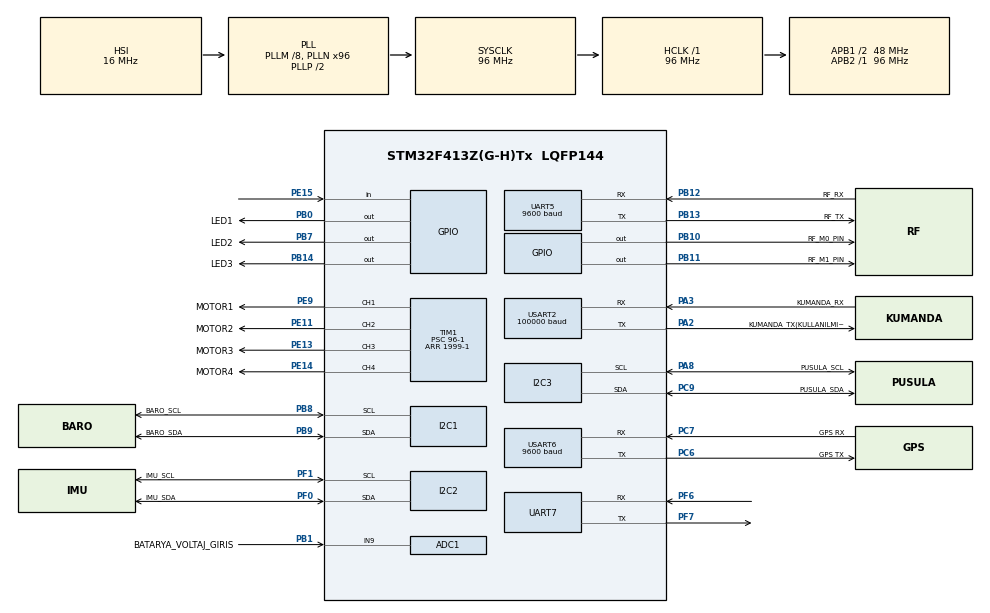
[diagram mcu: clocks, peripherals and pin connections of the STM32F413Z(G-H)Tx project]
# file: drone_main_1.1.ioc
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ADC1.Channel-0\#ChannelRegularConversion=ADC_CHANNEL_9
ADC1.ContinuousConvMode=ENABLE
ADC1.DMAContinuousRequests=ENABLE
ADC1.NbrOfConversion=1
ADC1.NbrOfConversionFlag=1
ADC1.Rank-0\#ChannelRegularConversion=1
ADC1.SamplingTime-0\#ChannelRegularConversion=ADC_SAMPLETIME_480CYCLES
ADC1.master=1
Dma.ADC1.1.Direction=DMA_PERIPH_TO_MEMORY
Dma.ADC1.1.FIFOMode=DMA_FIFOMODE_DISABLE
Dma.ADC1.1.Instance=DMA2_Stream0
Dma.ADC1.1.MemDataAlignment=DMA_MDATAALIGN_HALFWORD
Dma.ADC1.1.MemInc=DMA_MINC_ENABLE
Dma.ADC1.1.Mode=DMA_CIRCULAR
Dma.ADC1.1.PeriphDataAlignment=DMA_PDATAALIGN_HALFWORD
Dma.ADC1.1.PeriphInc=DMA_PINC_DISABLE
Dma.ADC1.1.Priority=DMA_PRIORITY_LOW
Dma.Request0=USART2_RX
Dma.Request1=ADC1
Dma.Request2=UART5_RX
Dma.Request3=UART5_TX
Dma.Request4=USART6_RX
Dma.Request5=UART7_TX
Dma.UART5_RX.2.Direction=DMA_PERIPH_TO_MEMORY
Dma.UART5_RX.2.FIFOMode=DMA_FIFOMODE_DISABLE
Dma.UART5_RX.2.Instance=DMA1_Stream0
Dma.UART5_RX.2.MemDataAlignment=DMA_MDATAALIGN_BYTE
Dma.UART5_RX.2.MemInc=DMA_MINC_ENABLE
Dma.UART5_RX.2.Mode=DMA_CIRCULAR
Dma.UART5_RX.2.PeriphDataAlignment=DMA_PDATAALIGN_BYTE
Dma.UART5_RX.2.PeriphInc=DMA_PINC_DISABLE
Dma.UART5_RX.2.Priority=DMA_PRIORITY_HIGH
Dma.UART5_TX.3.Direction=DMA_MEMORY_TO_PERIPH
Dma.UART5_TX.3.FIFOMode=DMA_FIFOMODE_DISABLE
Dma.UART5_TX.3.Instance=DMA1_Stream7
Dma.UART5_TX.3.MemDataAlignment=DMA_MDATAALIGN_BYTE
Dma.UART5_TX.3.MemInc=DMA_MINC_ENABLE
Dma.UART5_TX.3.Mode=DMA_NORMAL
Dma.UART5_TX.3.PeriphDataAlignment=DMA_PDATAALIGN_BYTE
Dma.UART5_TX.3.PeriphInc=DMA_PINC_DISABLE
Dma.UART5_TX.3.Priority=DMA_PRIORITY_MEDIUM
Dma.UART7_TX.5.Direction=DMA_MEMORY_TO_PERIPH
Dma.UART7_TX.5.FIFOMode=DMA_FIFOMODE_DISABLE
Dma.UART7_TX.5.Instance=DMA1_Stream1
Dma.UART7_TX.5.MemDataAlignment=DMA_MDATAALIGN_BYTE
Dma.UART7_TX.5.MemInc=DMA_MINC_ENABLE
Dma.UART7_TX.5.Mode=DMA_CIRCULAR
Dma.UART7_TX.5.PeriphDataAlignment=DMA_PDATAALIGN_BYTE
Dma.UART7_TX.5.PeriphInc=DMA_PINC_DISABLE
Dma.UART7_TX.5.Priority=DMA_PRIORITY_LOW
Dma.USART2_RX.0.Direction=DMA_PERIPH_TO_MEMORY
Dma.USART2_RX.0.FIFOMode=DMA_FIFOMODE_DISABLE
Dma.USART2_RX.0.Instance=DMA1_Stream5
Dma.USART2_RX.0.MemDataAlignment=DMA_MDATAALIGN_BYTE
Dma.USART2_RX.0.MemInc=DMA_MINC_ENABLE
Dma.USART2_RX.0.Mode=DMA_CIRCULAR
Dma.USART2_RX.0.PeriphDataAlignment=DMA_PDATAALIGN_BYTE
Dma.USART2_RX.0.PeriphInc=DMA_PINC_DISABLE
Dma.USART2_RX.0.Priority=DMA_PRIORITY_VERY_HIGH
Dma.USART6_RX.4.Direction=DMA_PERIPH_TO_MEMORY
Dma.USART6_RX.4.FIFOMode=DMA_FIFOMODE_DISABLE
Dma.USART6_RX.4.Instance=DMA2_Stream2
Dma.USART6_RX.4.MemDataAlignment=DMA_MDATAALIGN_BYTE
Dma.USART6_RX.4.MemInc=DMA_MINC_ENABLE
Dma.USART6_RX.4.Mode=DMA_CIRCULAR
Dma.USART6_RX.4.PeriphDataAlignment=DMA_PDATAALIGN_BYTE
Dma.USART6_RX.4.PeriphInc=DMA_PINC_DISABLE
Dma.USART6_RX.4.Priority=DMA_PRIORITY_LOW
I2C1.I2C_Mode=I2C_Fast
I2C2.I2C_Mode=I2C_Fast
I2C3.I2C_Mode=I2C_Fast
IWDG.Reload=36
Mcu.Family=STM32F4
Mcu.Name=STM32F413Z(G-H)Tx
Mcu.Package=LQFP144
NVIC.DMA1_Stream0_IRQn=true\:0\:0\:false\:false\:true\:false\:true\:true
NVIC.DMA1_Stream1_IRQn=true\:0\:0\:false\:false\:true\:false\:true\:true
NVIC.DMA1_Stream5_IRQn=true\:0\:0\:false\:false\:true\:false\:true\:true
NVIC.DMA1_Stream7_IRQn=true\:0\:0\:false\:false\:true\:false\:true\:true
NVIC.DMA2_Stream0_IRQn=true\:0\:0\:false\:false\:true\:false\:true\:true
NVIC.DMA2_Stream2_IRQn=true\:0\:0\:false\:false\:true\:false\:true\:true
NVIC.PriorityGroup=NVIC_PRIORITYGROUP_4
NVIC.UART5_IRQn=true\:0\:0\:false\:false\:true\:true\:true\:true
PA2.GPIO_Label=KUMANDA_TX(KULLANILMIYOR)
PA2.Mode=Asynchronous
PA2.Signal=USART2_TX
PA3.GPIO_Label=KUMANDA_RX
PA3.Mode=Asynchronous
PA3.Signal=USART2_RX
PA8.GPIO_Label=PUSULA_SCL
PA8.Mode=I2C
PA8.Signal=I2C3_SCL
PB0.GPIO_Label=LED1
PB0.Signal=GPIO_Output
PB1.GPIO_Label=BATARYA_VOLTAJ_GIRIS
PB1.Signal=ADCx_IN9
PB10.GPIO_Label=RF_M0_PIN
PB10.Signal=GPIO_Output
PB11.GPIO_Label=RF_M1_PIN
PB11.Signal=GPIO_Output
PB12.GPIO_Label=RF_RX
PB12.Mode=Asynchronous
PB12.Signal=UART5_RX
PB13.GPIO_Label=RF_TX
PB13.Mode=Asynchronous
PB13.Signal=UART5_TX
PB14.GPIO_Label=LED3
PB14.Signal=GPIO_Output
PB7.GPIO_Label=LED2
PB7.Signal=GPIO_Output
PB8.GPIO_Label=BARO_SCL
PB8.Mode=I2C
PB8.Signal=I2C1_SCL
PB9.GPIO_Label=BARO_SDA
PB9.Mode=I2C
PB9.Signal=I2C1_SDA
PC6.GPIO_Label=GPS TX
PC6.Mode=Asynchronous
PC6.Signal=USART6_TX
PC7.GPIO_Label=GPS RX
PC7.Mode=Asynchronous
PC7.Signal=USART6_RX
PC9.GPIO_Label=PUSULA_SDA
PC9.Mode=I2C
PC9.Signal=I2C3_SDA
PE11.GPIO_Label=MOTOR2
PE11.Signal=S_TIM1_CH2
PE13.GPIO_Label=MOTOR3
PE13.Signal=S_TIM1_CH3
PE14.GPIO_Label=MOTOR4
PE14.Signal=S_TIM1_CH4
PE15.Signal=GPIO_Input
PE9.GPIO_Label=MOTOR1
PE9.Signal=S_TIM1_CH1
PF0.GPIO_Label=IMU_SDA
PF0.Mode=I2C
PF0.Signal=I2C2_SDA
PF1.GPIO_Label=IMU_SCL
PF1.Mode=I2C
PF1.Signal=I2C2_SCL
PF6.Mode=Asynchronous
PF6.Signal=UART7_RX
PF7.Mode=Asynchronous
PF7.Signal=UART7_TX
ProjectManager.HeapSize=0x200
ProjectManager.StackSize=0x400
ProjectManager.TargetToolchain=STM32CubeIDE
RCC.AHBFreq_Value=96000000
RCC.APB1CLKDivider=RCC_HCLK_DIV2
RCC.APB1Freq_Value=48000000
RCC.APB1TimFreq_Value=96000000
RCC.APB2Freq_Value=96000000
RCC.APB2TimFreq_Value=96000000
RCC.CortexFreq_Value=96000000
RCC.HCLKFreq_Value=96000000
RCC.PLLM=8
RCC.PLLN=96
RCC.PLLQ=4
RCC.SYSCLKFreq_VALUE=96000000
RCC.SYSCLKSource=RCC_SYSCLKSOURCE_PLLCLK
RCC.USBFreq_Value=48000000
RCC.VCOOutputFreq_Value=192000000
SH.ADCx_IN9.0=ADC1_IN9,IN9
SH.S_TIM1_CH1.0=TIM1_CH1,PWM Generation1 CH1
SH.S_TIM1_CH2.0=TIM1_CH2,PWM Generation2 CH2
SH.S_TIM1_CH3.0=TIM1_CH3,PWM Generation3 CH3
SH.S_TIM1_CH4.0=TIM1_CH4,PWM Generation4 CH4
TIM1.Channel-PWM\ Generation1\ CH1=TIM_CHANNEL_1
TIM1.Channel-PWM\ Generation2\ CH2=TIM_CHANNEL_2
TIM1.Channel-PWM\ Generation3\ CH3=TIM_CHANNEL_3
TIM1.Channel-PWM\ Generation4\ CH4=TIM_CHANNEL_4
TIM1.Period=1999-1
TIM1.Prescaler=96-1
TIM2.Prescaler=96-1
TIM3.Prescaler=96-1
UART5.BaudRate=9600
UART5.OverSampling=UART_OVERSAMPLING_16
UART5.VirtualMode=Asynchronous
UART7.VirtualMode=Asynchronous
USART2.BaudRate=100000
USART2.Parity=PARITY_EVEN
USART2.StopBits=STOPBITS_2
USART2.VirtualMode=VM_ASYNC
USART6.BaudRate=9600
USART6.VirtualMode=VM_ASYNC
USART6.WordLength=WORDLENGTH_8B
VP_IWDG_VS_IWDG.Mode=IWDG_Activate
VP_TIM2_VS_ClockSourceINT.Mode=Internal
VP_TIM3_VS_ClockSourceINT.Mode=Internal
board=custom

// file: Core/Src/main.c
/* USER CODE BEGIN Header */
/**
  ******************************************************************************
  * @file           : main.c
  * @brief          : Main program body
  ******************************************************************************
  * @attention
  *
  * Copyright (c) 2023 STMicroelectronics.
  * All rights reserved.
  *
  * This software is licensed under terms that can be found in the LICENSE file
  * in the root directory of this software component.
  * If no LICENSE file comes with this software, it is provided AS-IS.
  *
  ******************************************************************************
  */
/* USER CODE END Header */
#include "main.h"

/* USER CODE BEGIN Includes */
#include <math.h>
#include <string.h>
#include "compass.h"
#include "mpu6050.h"
#include "pid.h"
#include "receiver.h"
#include "pwm_esc.h"
#include "e220.h"
#include "adc_Battery.h"
#include "log_to_flash.h"
#include "failsafe.h"
#include "gy63-i2c.h"
#include "gps.h"

/* USER CODE END Includes */

/* USER CODE BEGIN PD */
#define MPU6050_CONNECTION_LOST 0b000000000000001
#define MIN_Duty_cycle 0
#define motorstopValue 1000
#define PACKET_SIZE 34
#define Sector5_Address 0x08020000   // - 0x0803 FFFF 128 Kbyte
#define Sector6_Address 0x08040000   // - 0x0805 FFFF 128 Kbyte
#define Sector7_Address 0x08060000   // - 0x0807 FFFF 128 Kbyte
#define Sector8_Address 0x08080000   // - 0x0809 FFFF 128 Kbyte
#define Sector9_Address 0x080A0000   // - 0x080B FFFF 128 Kbyte
#define Sector10_Address 0x080C0000  // - 0x080D FFFF 128 Kbyte
#define Sector11_Address 0x080E0000  // - 0x080F FFFF 128 Kbyte
#define Sector12_Address 0x080100000 // - 0x0811 FFFF 128 Kbyte
#define Sector13_Address 0x08120000  // - 0x0813 FFFF 128 Kbyte
#define Sector14_Address 0x08140000  // - 0x0815 FFFF 128 Kbyte
#define Sector15_Address 0x08160000  // - 0x0817 FFFF 128 Kbyte

/* USER CODE END PD */

ADC_HandleTypeDef hadc1;
DMA_HandleTypeDef hdma_adc1;

I2C_HandleTypeDef hi2c1;
I2C_HandleTypeDef hi2c2;
I2C_HandleTypeDef hi2c3;

IWDG_HandleTypeDef hiwdg;

TIM_HandleTypeDef htim1;
TIM_HandleTypeDef htim2;
TIM_HandleTypeDef htim3;

UART_HandleTypeDef huart5;
UART_HandleTypeDef huart7;
UART_HandleTypeDef huart2;
UART_HandleTypeDef huart6;
DMA_HandleTypeDef hdma_uart5_rx;
DMA_HandleTypeDef hdma_uart5_tx;
DMA_HandleTypeDef hdma_uart7_tx;
DMA_HandleTypeDef hdma_usart2_rx;
DMA_HandleTypeDef hdma_usart6_rx;

/* USER CODE BEGIN PV */

//////////////////////////////////////////////////////////////
/////////////////////PID RELATED VARIABLES////////////////////
//////////////////////////////////////////////////////////////
float roll_level_adjust, pitch_level_adjust;
extern double Roll_Control,Pitch_Control,Yaw_Control;
int Calculated_Throttle1,Calculated_Throttle2,Calculated_Throttle3,Calculated_Throttle4;
int motorStop=1000;
//////////////////////////////////////////////////////////////
/////////////////////TIMER RELATED VARIABLES//////////////////
//////////////////////////////////////////////////////////////
uint32_t time1,time2,timex;
int t=0;
uint32_t loop_counter=0;
//////////////////////////////////////////////////////////////
///////////////////MPU6050 RELATED VARIABLES//////////////////
//////////////////////////////////////////////////////////////
MPU6050_t MPU6050_1;
double angle_pitch_output, angle_roll_output , angle_yaw_rate_output;
extern float gyro_roll_input,gyro_pitch_input,gyro_yaw_input;
extern float accel_input[4];
extern float accel_output[4];

//////////////////////////////////////////////////////////////
//////////////////RF MODULE RELATED VARIABLES/////////////////
//////////////////////////////////////////////////////////////
extern struct receiverdata My_Receiver;
uint16_t DRONE_STATUS;
uint8_t send_buffer[32]="Hi There!";
uint8_t receive_buffer[32]={0};
int16_t result;
uint8_t all_reg_rx[8], all_reg_tx[8];
struct LoRa_Handler LoraTX={0};
uint8_t rf_listen=0;

//////////////////////////////////////////////////////////////
/////////////////////RECEIVER RELATED VARIABLES///////////////
//////////////////////////////////////////////////////////////
char buffer[25];
int _channels[12];

//////////////////////////////////////////////////////////////
/////////////////////BATTERY RELATED VARIABLES////////////////
//////////////////////////////////////////////////////////////
uint32_t battery_raw_data;
float battery_voltage_float=1;

//////////////////////////////////////////////////////////////
////////////////CALIBRATION RELATED VARIABLES/////////////////
//////////////////////////////////////////////////////////////
float calibration_buffer_float[5];
float imu_calibration_values[6];

//////////////////////////////////////////////////////////////
////////////////FLIGHT LOG RELATED VARIABLES//////////////////
//////////////////////////////////////////////////////////////
uint8_t log_buffer[34];
uint16_t status=0;
uint64_t address_counter=0;
float altitude=725.55;
float real_height=0;

//////////////////////////////////////////////////////////////
//////////////////BAROMETER RELATED VARIABLES/////////////////
//////////////////////////////////////////////////////////////
int loop_counter_pressure_requested=0;
extern struct GY63_t GY63;
float baro_coeff=50;
uint8_t alt_hold_flag;
float alt_setpoint;
extern float Alt_Control;

//////////////////////////////////////////////////////////////
////////////BAROMETER IIR FILTER RELATED VARIABLES////////////
//////////////////////////////////////////////////////////////
float baro_filter_input[4];float baro_filter_output[4];
float baro_filter_output_coeff[3]={2.6235,-2.3146
		,0.6855};
float baro_filter_input_coeff[4]={6.996662426856934e-04,0.002098998728057,
		0.002098998728057,6.996662426856934e-04};

//////////////////////////////////////////////////////////////
///////////////COMPASS & GPS RELATED VARIABLES////////////////
//////////////////////////////////////////////////////////////
uint8_t gps_buffer[100];
int16_t MagX,MagY,MagZ;
uint8_t data_compass[13];
uint8_t MAGZ[6];
float heading;
HAL_StatusTypeDef result_compass;
int16_t compass_offset_y;
float compass_scale_y;
int16_t compass_offset_z;
float compass_scale_z;
int16_t compass_offset_x;
int16_t compass_cal_values[6];
float Xsf,Ysf,Xoff,Yoff,Zsf,Zoff;
extern float heading_corrected;
int gps_connected=0;

//////////////////////////////////////////////////////////////
/////////////////GPS HOLD RELATED VARIABLES///////////////////
//////////////////////////////////////////////////////////////
int gps_hold_flag=0;
uint32_t gps_setpoint_lat,gps_setpoint_lon;
float GpsRollControl,GpsPitchControl;
float GpsRollControl_temp,GpsPitchControl_temp;
double gps_go_result[2];
uint8_t gps_go_flag=0;
uint8_t heading_lock=0;
float heading_error=0;
uint8_t gps_fix=0;

/* USER CODE END PV */

void SystemClock_Config(void);
static void MX_GPIO_Init(void);
static void MX_DMA_Init(void);
static void MX_IWDG_Init(void);
static void MX_I2C2_Init(void);
static void MX_USART2_UART_Init(void);
static void MX_TIM1_Init(void);
static void MX_TIM2_Init(void);
static void MX_TIM3_Init(void);
static void MX_ADC1_Init(void);
static void MX_I2C1_Init(void);
static void MX_UART5_Init(void);
static void MX_USART6_UART_Init(void);
static void MX_I2C3_Init(void);
static void MX_UART7_Init(void);
/* USER CODE BEGIN PFP */
void HAL_UART_TxCpltCallback(UART_HandleTypeDef *huart);
void fill_buffer();

/* USER CODE END PFP */

int main(void)
{
  /* USER CODE BEGIN 1 */
   __HAL_DBGMCU_FREEZE_IWDG(); ///TURN THE WATCHDOG TIMER OFF IN DEBUG MODE, OTHERWISE MCU WILL KEEP RESETTING ITSELF

  /* USER CODE END 1 */

  /* MCU Configuration--------------------------------------------------------*/

  /* Reset of all peripherals, Initializes the Flash interface and the Systick. */
  HAL_Init();

  /* Configure the system clock */
  SystemClock_Config();

  /* Initialize all configured peripherals */
  MX_GPIO_Init();
  MX_DMA_Init();
  //MX_IWDG_Init();  // CALL THIS FUNCTION BEFORE MAIN LOOP BEGINS
  MX_I2C2_Init();
  MX_USART2_UART_Init();
  MX_TIM1_Init();
  MX_TIM2_Init();
  MX_TIM3_Init();
  MX_ADC1_Init();
  MX_I2C1_Init();
  MX_UART5_Init();
  MX_USART6_UART_Init();
  MX_I2C3_Init();
  MX_UART7_Init();
  /* USER CODE BEGIN 2 */

  //////TRANSMITTER AND IMU INIT/////
  red_led_on();    // assume no transmitter is connected initially
  while(MPU6050_Init_Benim(&hi2c2)==1);       // connect to imu
  start_reading_battery();                    // start the adc for battery voltage

  while(connect_receiver());                  // connect to transmitter
  red_led_off();  // turn the red led off after connection to transsmitter
  while(startup_handler());   //choose a startup mode: imu calibration ,compass calibration, flight;

 //////RF MODUL INITIALIZATION/////
 E220_init_declare_pins(&LoraTX, GPIOB, GPIOE, GPIO_PIN_10, GPIO_PIN_11, GPIO_PIN_15,&huart5); //declare E220 pins.
 E220_enter_normal_mode(&LoraTX); //switch the E220 to transceiver

  /* USER CODE END 2 */

  /* Infinite loop */
  /* USER CODE BEGIN WHILE */

  /////INIT MOTORS/////
  while(arm_handler());           //motors will be activated after this function,
  stop_motors();                    //this function shuts the motors ,

  /////INIT BAROMETER/////
  MS5611_Initilize(); // Never start without this function call
  MS5611_Request_Temp();  //for the timing algorithm to work properly

  /////INIT LOG RECORD/////
  //flash_init_for_log();    //this function erases the sectors from 5 to 13 to flight data logging, warning: This function takes around 4-5 seconds to execute.

  while(gps_init());   //gps initialization
  HAL_TIM_Base_Start(&htim3);              //initiate the loop timer counter
  HAL_Delay(1000);                       // wait 1s to see if the data from gps will corrupt
  while(is_gps_connected()); //wait until gps data frame fits into 100 byte buffer
  green_led_on(); /// turn the green led on, ready for flight
  E220_receive_payload_DMA(&LoraTX,receive_buffer,32);  // start DMA for RF module receive

  MX_IWDG_Init();                            //start the watchdog timer
  while (1)
  {

    /* USER CODE END WHILE */

    /* USER CODE BEGIN 3 */
	  htim3.Instance->CNT=0;         // reset timer
	  time1=htim3.Instance->CNT;     // keep the initial value

	  MPU6050_Read_All_Benim(&hi2c2, &MPU6050_1);    //read the imu data

	  if(decode_receiver()==1) // if the connection with transmitter this function will return 1
	  {
		  red_led_on();  //turn the red led on
		  failsafe_handler();                       //shut motors and wait (mcu will reset itself)
		  //rf_listen=1;       //trivial
		  //_channels[0]=1000;  //trivial
		  //_channels[1]=1000;  //trivial
		  //_channels[3]=1000;  //trivial
		  //if(rf_listen) decode_rf(); //trivial
	  }
	  else {
		  //rf_listen=0;  //trivial
		  red_led_off();

	  }

	  //CALCULATE THE PID CONTROL SIGNALS
	  //adjust parameters are the feedback control signals of the cascaded pid loop
	  pitch_level_adjust = angle_pitch_output * 31;
	  roll_level_adjust = angle_roll_output * 31;
	  calculate_motor_powers();

	  //CALCULATE THE SIGNALS FOR THE MOTORS (PITCH ,ROLL AND YAW)
	  Calculated_Throttle1=(_channels[2] + (int)Roll_Control + (int)Pitch_Control  + (int)Yaw_Control);
	  if(Calculated_Throttle1<1100) Calculated_Throttle1=1100;
	  if(Calculated_Throttle1>1800) Calculated_Throttle1=1800;

	  Calculated_Throttle2=(_channels[2] - (int)Roll_Control + (int)Pitch_Control - (int)Yaw_Control);
	  if(Calculated_Throttle2<1100) Calculated_Throttle2=1100;
	  if(Calculated_Throttle2>1800) Calculated_Throttle2=1800;

	  Calculated_Throttle3=(_channels[2] + (int)Roll_Control - (int)Pitch_Control - (int)Yaw_Control);
	  if(Calculated_Throttle3<1100) Calculated_Throttle3=1100;
	  if(Calculated_Throttle3>1800) Calculated_Throttle3=1800;

	  Calculated_Throttle4=(_channels[2] - (int)Roll_Control - (int)Pitch_Control + (int)Yaw_Control);
	  if(Calculated_Throttle4<1100) Calculated_Throttle4=1100;
	  if(Calculated_Throttle4>1800) Calculated_Throttle4=1800;

	  if(_channels[4]==1000){   //ALT HOLD ENABLED
		  //if(loop_counter%3==0)
		  altitude_hold();
		  status=2;
		  /*
		  calc_gps((double) latitude/1e7,(double) longitude/1e7, 39.938801, 32.818207, gps_go_result);
		  heading_error=gps_go_result[1]-heading_corrected;
		  if(gps_go_result[0]>1){
			  gps_go_flag=1;
		  }
		  else{
			  gps_hold();
			  gps_go_flag=0;
		  }
		  */
	  }
	  else if(_channels[4]==0 && gps_fix==1){ //GPS HOLD ENABLED
		  gps_go_flag=0;
		  gps_hold();
		  altitude_hold();
		  status=3;
	  }

	  else if(_channels[4]==2000 || (_channels[4]==0 && gps_fix==0 && _channels[4]!=1000) ){ //ATTIDE MODE  ENABLED
		  gps_go_flag=0;
		  reset_alt_pid();
		  alt_hold_flag=0;
		  alt_setpoint=0;
		  reset_gps_pid();
		  gps_hold_flag=0;
		  gps_setpoint_lat=0;
		  gps_setpoint_lon=0;
		  status=1;
	  }

	  //APPLY THE PID CONTROL SIGNALS TO THE MOTORS
	  if(_channels[9]==2000){  // if reset pid & shut motors switch is enabled
		  reset_pid();
		  changespeedM1(&motorStop,MIN_Duty_cycle);
		  changespeedM2(&motorStop,MIN_Duty_cycle);
		  changespeedM3(&motorStop,MIN_Duty_cycle);
		  changespeedM4(&motorStop,MIN_Duty_cycle);
		  HAL_IWDG_Refresh(&hiwdg);
	  }
	  else{
		  if(battery_voltage_float>10 && battery_voltage_float<12.70){ // battery voltage compensation
			  Calculated_Throttle1+=(12-battery_voltage_float)*40;
			  Calculated_Throttle2+=(12-battery_voltage_float)*40;
			  Calculated_Throttle3+=(12-battery_voltage_float)*40;
			  Calculated_Throttle4+=(12-battery_voltage_float)*40;
			  if(Calculated_Throttle1<1100) Calculated_Throttle1=1100;
			  if(Calculated_Throttle1>1800) Calculated_Throttle1=1800;
			  if(Calculated_Throttle2<1100) Calculated_Throttle2=1100;
			  if(Calculated_Throttle2>1800) Calculated_Throttle2=1800;
			  if(Calculated_Throttle3<1100) Calculated_Throttle3=1100;
			  if(Calculated_Throttle3>1800) Calculated_Throttle3=1800;
			  if(Calculated_Throttle4<1100) Calculated_Throttle4=1100;
			  if(Calculated_Throttle4>1800) Calculated_Throttle4=1800;
			  changespeedM1(&Calculated_Throttle1,MIN_Duty_cycle);
			  changespeedM2(&Calculated_Throttle2,MIN_Duty_cycle);
			  changespeedM3(&Calculated_Throttle3,MIN_Duty_cycle);
			  changespeedM4(&Calculated_Throttle4,MIN_Duty_cycle);
		  }
		  else{ // if the battery is belov 10 volts, shut the motors for the sake of li-po battery
			  changespeedM1(&Calculated_Throttle1,MIN_Duty_cycle);
			  changespeedM2(&Calculated_Throttle2,MIN_Duty_cycle);
			  changespeedM3(&Calculated_Throttle3,MIN_Duty_cycle);
			  changespeedM4(&Calculated_Throttle4,MIN_Duty_cycle);
			  status=99;
		  }

	  }
	  //CONVERT THE ADC READING INTO VOLTAGE  1.012145748987854 is calibration value
	  battery_voltage_float=(float)battery_raw_data /4095*5.7*3.3*(double)1.012145748987854;

	  //if 100 ms passed, send information to the ground station, rf_listen is trivial
	  if(!rf_listen && loop_counter%25==0)
	  {
		  E220_transmit_payload_DMA(&LoraTX,log_buffer,32);
	  }
	  // fit the information into 32 byte buffer
	  fill_buffer();
	  //
/*
	  if(loop_counter%25==0){  /// log the flight data into flash
		  log_write(log_buffer, &address_counter);
	  }
*/

	  baro_read();  //read the barometer (timing will be handled inside this function)
	  if(loop_counter%50==5 && loop_counter!=0){
		  if(gps_decode(gps_buffer,&latitude,&longitude)==0){ // extract the latitude and longitude information from ubx message
			  gps_fix=1;
		  }
		  else gps_fix=0;
	  }

	  compass_read_corrected(); //Read compass data

	  if(_channels[3]<100 && _channels[2]<1100 && _channels[0]>1800 && _channels[1]>1800){
		  while(1); // left joystick (throttle and yaw) down-right and right joystick (pitch and roll) down-right
		 //this causes mcu to reset
	  }

	  loop_counter++;
	  if(loop_counter==1200){
		  loop_counter=0;
	  }
	  timex=htim3.Instance->CNT-time1;       //how much time did it take the code to come here
	  while((htim3.Instance->CNT-time1)<=4000){  //wait until 4ms passes
	  }
	  time2=(htim3.Instance->CNT-time1);   //how much time did the main loop take
	  HAL_IWDG_Refresh(&hiwdg);       //feed the watchdog timer

  }
  /* USER CODE END 3 */
}

void SystemClock_Config(void)
{
  RCC_OscInitTypeDef RCC_OscInitStruct = {0};
  RCC_ClkInitTypeDef RCC_ClkInitStruct = {0};

  /** Configure the main internal regulator output voltage
  */
  __HAL_RCC_PWR_CLK_ENABLE();
  __HAL_PWR_VOLTAGESCALING_CONFIG(PWR_REGULATOR_VOLTAGE_SCALE1);

  /** Initializes the RCC Oscillators according to the specified parameters
  * in the RCC_OscInitTypeDef structure.
  */
  RCC_OscInitStruct.OscillatorType = RCC_OSCILLATORTYPE_HSI|RCC_OSCILLATORTYPE_LSI;
  RCC_OscInitStruct.HSIState = RCC_HSI_ON;
  RCC_OscInitStruct.HSICalibrationValue = RCC_HSICALIBRATION_DEFAULT;
  RCC_OscInitStruct.LSIState = RCC_LSI_ON;
  RCC_OscInitStruct.PLL.PLLState = RCC_PLL_ON;
  RCC_OscInitStruct.PLL.PLLSource = RCC_PLLSOURCE_HSI;
  RCC_OscInitStruct.PLL.PLLM = 8;
  RCC_OscInitStruct.PLL.PLLN = 96;
  RCC_OscInitStruct.PLL.PLLP = RCC_PLLP_DIV2;
  RCC_OscInitStruct.PLL.PLLQ = 4;
  RCC_OscInitStruct.PLL.PLLR = 2;
  if (HAL_RCC_OscConfig(&RCC_OscInitStruct) != HAL_OK)
  {
    Error_Handler();
  }

  /** Initializes the CPU, AHB and APB buses clocks
  */
  RCC_ClkInitStruct.ClockType = RCC_CLOCKTYPE_HCLK|RCC_CLOCKTYPE_SYSCLK
                              |RCC_CLOCKTYPE_PCLK1|RCC_CLOCKTYPE_PCLK2;
  RCC_ClkInitStruct.SYSCLKSource = RCC_SYSCLKSOURCE_PLLCLK;
  RCC_ClkInitStruct.AHBCLKDivider = RCC_SYSCLK_DIV1;
  RCC_ClkInitStruct.APB1CLKDivider = RCC_HCLK_DIV2;
  RCC_ClkInitStruct.APB2CLKDivider = RCC_HCLK_DIV1;

  if (HAL_RCC_ClockConfig(&RCC_ClkInitStruct, FLASH_LATENCY_3) != HAL_OK)
  {
    Error_Handler();
  }
}

static void MX_ADC1_Init(void)
{

  ADC_ChannelConfTypeDef sConfig = {0};

  /** Configure the global features of the ADC (Clock, Resolution, Data Alignment and number of conversion)
  */
  hadc1.Instance = ADC1;
  hadc1.Init.ClockPrescaler = ADC_CLOCK_SYNC_PCLK_DIV4;
  hadc1.Init.Resolution = ADC_RESOLUTION_12B;
  hadc1.Init.ScanConvMode = DISABLE;
  hadc1.Init.ContinuousConvMode = ENABLE;
  hadc1.Init.DiscontinuousConvMode = DISABLE;
  hadc1.Init.ExternalTrigConvEdge = ADC_EXTERNALTRIGCONVEDGE_NONE;
  hadc1.Init.ExternalTrigConv = ADC_SOFTWARE_START;
  hadc1.Init.DataAlign = ADC_DATAALIGN_RIGHT;
  hadc1.Init.NbrOfConversion = 1;
  hadc1.Init.DMAContinuousRequests = ENABLE;
  hadc1.Init.EOCSelection = ADC_EOC_SINGLE_CONV;
  if (HAL_ADC_Init(&hadc1) != HAL_OK)
  {
    Error_Handler();
  }

  /** Configure for the selected ADC regular channel its corresponding rank in the sequencer and its sample time.
  */
  sConfig.Channel = ADC_CHANNEL_9;
  sConfig.Rank = 1;
  sConfig.SamplingTime = ADC_SAMPLETIME_480CYCLES;
  if (HAL_ADC_ConfigChannel(&hadc1, &sConfig) != HAL_OK)
  {
    Error_Handler();
  }

}

static void MX_I2C1_Init(void)
{

  hi2c1.Instance = I2C1;
  hi2c1.Init.ClockSpeed = 400000;
  hi2c1.Init.DutyCycle = I2C_DUTYCYCLE_2;
  hi2c1.Init.OwnAddress1 = 0;
  hi2c1.Init.AddressingMode = I2C_ADDRESSINGMODE_7BIT;
  hi2c1.Init.DualAddressMode = I2C_DUALADDRESS_DISABLE;
  hi2c1.Init.OwnAddress2 = 0;
  hi2c1.Init.GeneralCallMode = I2C_GENERALCALL_DISABLE;
  hi2c1.Init.NoStretchMode = I2C_NOSTRETCH_DISABLE;
  if (HAL_I2C_Init(&hi2c1) != HAL_OK)
  {
    Error_Handler();
  }

}

static void MX_I2C2_Init(void)
{

  hi2c2.Instance = I2C2;
  hi2c2.Init.ClockSpeed = 400000;
  hi2c2.Init.DutyCycle = I2C_DUTYCYCLE_2;
  hi2c2.Init.OwnAddress1 = 0;
  hi2c2.Init.AddressingMode = I2C_ADDRESSINGMODE_7BIT;
  hi2c2.Init.DualAddressMode = I2C_DUALADDRESS_DISABLE;
  hi2c2.Init.OwnAddress2 = 0;
  hi2c2.Init.GeneralCallMode = I2C_GENERALCALL_DISABLE;
  hi2c2.Init.NoStretchMode = I2C_NOSTRETCH_DISABLE;
  if (HAL_I2C_Init(&hi2c2) != HAL_OK)
  {
    Error_Handler();
  }

}

static void MX_I2C3_Init(void)
{

  hi2c3.Instance = I2C3;
  hi2c3.Init.ClockSpeed = 400000;
  hi2c3.Init.DutyCycle = I2C_DUTYCYCLE_2;
  hi2c3.Init.OwnAddress1 = 0;
  hi2c3.Init.AddressingMode = I2C_ADDRESSINGMODE_7BIT;
  hi2c3.Init.DualAddressMode = I2C_DUALADDRESS_DISABLE;
  hi2c3.Init.OwnAddress2 = 0;
  hi2c3.Init.GeneralCallMode = I2C_GENERALCALL_DISABLE;
  hi2c3.Init.NoStretchMode = I2C_NOSTRETCH_DISABLE;
  if (HAL_I2C_Init(&hi2c3) != HAL_OK)
  {
    Error_Handler();
  }

}

static void MX_IWDG_Init(void)
{

  hiwdg.Instance = IWDG;
  hiwdg.Init.Prescaler = IWDG_PRESCALER_4;
  hiwdg.Init.Reload = 36;
  if (HAL_IWDG_Init(&hiwdg) != HAL_OK)
  {
    Error_Handler();
  }

}

static void MX_TIM1_Init(void)
{

  TIM_MasterConfigTypeDef sMasterConfig = {0};
  TIM_OC_InitTypeDef sConfigOC = {0};
  TIM_BreakDeadTimeConfigTypeDef sBreakDeadTimeConfig = {0};

  htim1.Instance = TIM1;
  htim1.Init.Prescaler = 96-1;
  htim1.Init.CounterMode = TIM_COUNTERMODE_UP;
  htim1.Init.Period = 1999-1;
  htim1.Init.ClockDivision = TIM_CLOCKDIVISION_DIV1;
  htim1.Init.RepetitionCounter = 0;
  htim1.Init.AutoReloadPreload = TIM_AUTORELOAD_PRELOAD_DISABLE;
  if (HAL_TIM_PWM_Init(&htim1) != HAL_OK)
  {
    Error_Handler();
  }
  sMasterConfig.MasterOutputTrigger = TIM_TRGO_RESET;
  sMasterConfig.MasterSlaveMode = TIM_MASTERSLAVEMODE_DISABLE;
  if (HAL_TIMEx_MasterConfigSynchronization(&htim1, &sMasterConfig) != HAL_OK)
  {
    Error_Handler();
  }
  sConfigOC.OCMode = TIM_OCMODE_PWM1;
  sConfigOC.Pulse = 0;
  sConfigOC.OCPolarity = TIM_OCPOLARITY_HIGH;
  sConfigOC.OCNPolarity = TIM_OCNPOLARITY_HIGH;
  sConfigOC.OCFastMode = TIM_OCFAST_DISABLE;
  sConfigOC.OCIdleState = TIM_OCIDLESTATE_RESET;
  sConfigOC.OCNIdleState = TIM_OCNIDLESTATE_RESET;
  if (HAL_TIM_PWM_ConfigChannel(&htim1, &sConfigOC, TIM_CHANNEL_1) != HAL_OK)
  {
    Error_Handler();
  }
  if (HAL_TIM_PWM_ConfigChannel(&htim1, &sConfigOC, TIM_CHANNEL_2) != HAL_OK)
  {
    Error_Handler();
  }
  if (HAL_TIM_PWM_ConfigChannel(&htim1, &sConfigOC, TIM_CHANNEL_3) != HAL_OK)
  {
    Error_Handler();
  }
  if (HAL_TIM_PWM_ConfigChannel(&htim1, &sConfigOC, TIM_CHANNEL_4) != HAL_OK)
  {
    Error_Handler();
  }
  sBreakDeadTimeConfig.OffStateRunMode = TIM_OSSR_DISABLE;
  sBreakDeadTimeConfig.OffStateIDLEMode = TIM_OSSI_DISABLE;
  sBreakDeadTimeConfig.LockLevel = TIM_LOCKLEVEL_OFF;
  sBreakDeadTimeConfig.DeadTime = 0;
  sBreakDeadTimeConfig.BreakState = TIM_BREAK_DISABLE;
  sBreakDeadTimeConfig.BreakPolarity = TIM_BREAKPOLARITY_HIGH;
  sBreakDeadTimeConfig.AutomaticOutput = TIM_AUTOMATICOUTPUT_DISABLE;
  if (HAL_TIMEx_ConfigBreakDeadTime(&htim1, &sBreakDeadTimeConfig) != HAL_OK)
  {
    Error_Handler();
  }
  HAL_TIM_MspPostInit(&htim1);

}

static void MX_TIM2_Init(void)
{

  TIM_ClockConfigTypeDef sClockSourceConfig = {0};
  TIM_MasterConfigTypeDef sMasterConfig = {0};

  htim2.Instance = TIM2;
  htim2.Init.Prescaler = 96-1;
  htim2.Init.CounterMode = TIM_COUNTERMODE_UP;
  htim2.Init.Period = 4294967295;
  htim2.Init.ClockDivision = TIM_CLOCKDIVISION_DIV1;
  htim2.Init.AutoReloadPreload = TIM_AUTORELOAD_PRELOAD_DISABLE;
  if (HAL_TIM_Base_Init(&htim2) != HAL_OK)
  {
    Error_Handler();
  }
  sClockSourceConfig.ClockSource = TIM_CLOCKSOURCE_INTERNAL;
  if (HAL_TIM_ConfigClockSource(&htim2, &sClockSourceConfig) != HAL_OK)
  {
    Error_Handler();
  }
  sMasterConfig.MasterOutputTrigger = TIM_TRGO_RESET;
  sMasterConfig.MasterSlaveMode = TIM_MASTERSLAVEMODE_DISABLE;
  if (HAL_TIMEx_MasterConfigSynchronization(&htim2, &sMasterConfig) != HAL_OK)
  {
    Error_Handler();
  }

}

static void MX_TIM3_Init(void)
{

  TIM_ClockConfigTypeDef sClockSourceConfig = {0};
  TIM_MasterConfigTypeDef sMasterConfig = {0};

  htim3.Instance = TIM3;
  htim3.Init.Prescaler = 96-1;
  htim3.Init.CounterMode = TIM_COUNTERMODE_UP;
  htim3.Init.Period = 65535;
  htim3.Init.ClockDivision = TIM_CLOCKDIVISION_DIV1;
  htim3.Init.AutoReloadPreload = TIM_AUTORELOAD_PRELOAD_DISABLE;
  if (HAL_TIM_Base_Init(&htim3) != HAL_OK)
  {
    Error_Handler();
  }
  sClockSourceConfig.ClockSource = TIM_CLOCKSOURCE_INTERNAL;
  if (HAL_TIM_ConfigClockSource(&htim3, &sClockSourceConfig) != HAL_OK)
  {
    Error_Handler();
  }
  sMasterConfig.MasterOutputTrigger = TIM_TRGO_RESET;
  sMasterConfig.MasterSlaveMode = TIM_MASTERSLAVEMODE_DISABLE;
  if (HAL_TIMEx_MasterConfigSynchronization(&htim3, &sMasterConfig) != HAL_OK)
  {
    Error_Handler();
  }

}

static void MX_UART5_Init(void)
{

  huart5.Instance = UART5;
  huart5.Init.BaudRate = 9600;
  huart5.Init.WordLength = UART_WORDLENGTH_8B;
  huart5.Init.StopBits = UART_STOPBITS_1;
  huart5.Init.Parity = UART_PARITY_NONE;
  huart5.Init.Mode = UART_MODE_TX_RX;
  huart5.Init.HwFlowCtl = UART_HWCONTROL_NONE;
  huart5.Init.OverSampling = UART_OVERSAMPLING_16;
  if (HAL_UART_Init(&huart5) != HAL_OK)
  {
    Error_Handler();
  }

}

static void MX_UART7_Init(void)
{

  huart7.Instance = UART7;
  huart7.Init.BaudRate = 115200;
  huart7.Init.WordLength = UART_WORDLENGTH_8B;
  huart7.Init.StopBits = UART_STOPBITS_1;
  huart7.Init.Parity = UART_PARITY_NONE;
  huart7.Init.Mode = UART_MODE_TX_RX;
  huart7.Init.HwFlowCtl = UART_HWCONTROL_NONE;
  huart7.Init.OverSampling = UART_OVERSAMPLING_16;
  if (HAL_UART_Init(&huart7) != HAL_OK)
  {
    Error_Handler();
  }

}

static void MX_USART2_UART_Init(void)
{

  huart2.Instance = USART2;
  huart2.Init.BaudRate = 100000;
  huart2.Init.WordLength = UART_WORDLENGTH_8B;
  huart2.Init.StopBits = UART_STOPBITS_2;
  huart2.Init.Parity = UART_PARITY_EVEN;
  huart2.Init.Mode = UART_MODE_TX_RX;
  huart2.Init.HwFlowCtl = UART_HWCONTROL_NONE;
  huart2.Init.OverSampling = UART_OVERSAMPLING_16;
  if (HAL_UART_Init(&huart2) != HAL_OK)
  {
    Error_Handler();
  }

}

static void MX_USART6_UART_Init(void)
{

  huart6.Instance = USART6;
  huart6.Init.BaudRate = 9600;
  huart6.Init.WordLength = UART_WORDLENGTH_8B;
  huart6.Init.StopBits = UART_STOPBITS_1;
  huart6.Init.Parity = UART_PARITY_NONE;
  huart6.Init.Mode = UART_MODE_TX_RX;
  huart6.Init.HwFlowCtl = UART_HWCONTROL_NONE;
  huart6.Init.OverSampling = UART_OVERSAMPLING_16;
  if (HAL_UART_Init(&huart6) != HAL_OK)
  {
    Error_Handler();
  }

}

static void MX_DMA_Init(void)
{

  /* DMA controller clock enable */
  __HAL_RCC_DMA1_CLK_ENABLE();
  __HAL_RCC_DMA2_CLK_ENABLE();

  /* DMA interrupt init */
  /* DMA1_Stream0_IRQn interrupt configuration */
  HAL_NVIC_SetPriority(DMA1_Stream0_IRQn, 0, 0);
  HAL_NVIC_EnableIRQ(DMA1_Stream0_IRQn);
  /* DMA1_Stream1_IRQn interrupt configuration */
  HAL_NVIC_SetPriority(DMA1_Stream1_IRQn, 0, 0);
  HAL_NVIC_EnableIRQ(DMA1_Stream1_IRQn);
  /* DMA1_Stream5_IRQn interrupt configuration */
  HAL_NVIC_SetPriority(DMA1_Stream5_IRQn, 0, 0);
  HAL_NVIC_EnableIRQ(DMA1_Stream5_IRQn);
  /* DMA1_Stream7_IRQn interrupt configuration */
  HAL_NVIC_SetPriority(DMA1_Stream7_IRQn, 0, 0);
  HAL_NVIC_EnableIRQ(DMA1_Stream7_IRQn);
  /* DMA2_Stream0_IRQn interrupt configuration */
  HAL_NVIC_SetPriority(DMA2_Stream0_IRQn, 0, 0);
  HAL_NVIC_EnableIRQ(DMA2_Stream0_IRQn);
  /* DMA2_Stream2_IRQn interrupt configuration */
  HAL_NVIC_SetPriority(DMA2_Stream2_IRQn, 0, 0);
  HAL_NVIC_EnableIRQ(DMA2_Stream2_IRQn);

}

static void MX_GPIO_Init(void)
{
  GPIO_InitTypeDef GPIO_InitStruct = {0};

  /* GPIO Ports Clock Enable */
  __HAL_RCC_GPIOF_CLK_ENABLE();
  __HAL_RCC_GPIOA_CLK_ENABLE();
  __HAL_RCC_GPIOB_CLK_ENABLE();
  __HAL_RCC_GPIOE_CLK_ENABLE();
  __HAL_RCC_GPIOC_CLK_ENABLE();

  /*Configure GPIO pin Output Level */
  HAL_GPIO_WritePin(GPIOB, LED1_Pin|RF_M0_PIN_Pin|RF_M1_PIN_Pin|LED3_Pin
                          |LED2_Pin, GPIO_PIN_RESET);

  /*Configure GPIO pins : LED1_Pin RF_M0_PIN_Pin RF_M1_PIN_Pin LED3_Pin
                           LED2_Pin */
  GPIO_InitStruct.Pin = LED1_Pin|RF_M0_PIN_Pin|RF_M1_PIN_Pin|LED3_Pin
                          |LED2_Pin;
  GPIO_InitStruct.Mode = GPIO_MODE_OUTPUT_PP;
  GPIO_InitStruct.Pull = GPIO_NOPULL;
  GPIO_InitStruct.Speed = GPIO_SPEED_FREQ_LOW;
  HAL_GPIO_Init(GPIOB, &GPIO_InitStruct);

  /*Configure GPIO pin : PE15 */
  GPIO_InitStruct.Pin = GPIO_PIN_15;
  GPIO_InitStruct.Mode = GPIO_MODE_INPUT;
  GPIO_InitStruct.Pull = GPIO_NOPULL;
  HAL_GPIO_Init(GPIOE, &GPIO_InitStruct);

}

/* USER CODE BEGIN 4 */

void HAL_UART_TxCpltCallback(UART_HandleTypeDef *huart)
{
	/*
	 *
	 * 	  x_roll[0]=MPU6050_1.angle_roll;
	y_roll[0] = coeff_a[0]*y_roll[1] + coeff_a[1]*y_roll[2] +coeff_a[2]*y_roll[3] +
	coeff_b[0]*x_roll[0] + coeff_b[1]*x_roll[1] + coeff_b[2]*x_roll[2]+coeff_b[3]*x_roll[3];

	  for(int i = 2; i >= 0; i--){
		  x_roll[i+1] = x_roll[i]; // store xi
	      y_roll[i+1] = y_roll[i]; // store yi
	    }

	 */
	//HAL_UART_AbortTransmit(huart);
	//E220_receive_payload_DMA(&LoraTX,receive_buffer,32);

}

void fill_buffer()
{
	log_buffer[0]='!';
	log_buffer[1]=0;

	log_buffer[3]=(status>>8)&0xFF;
	log_buffer[2]=(status)&0xFF;

	log_buffer[5]=(Calculated_Throttle1>>8)&0xFF;
	log_buffer[4]=(Calculated_Throttle1)&0xFF;

	log_buffer[7]=(Calculated_Throttle2>>8)&0xFF;
	log_buffer[6]=(Calculated_Throttle2)&0xFF;

	log_buffer[9]=(Calculated_Throttle3>>8)&0xFF;
	log_buffer[8]=(Calculated_Throttle3)&0xFF;

	log_buffer[11]=(Calculated_Throttle4>>8)&0xFF;
	log_buffer[10]=(Calculated_Throttle4)&0xFF;

	log_buffer[13]=((int16_t)(battery_voltage_float*100)>>8)&0xFF;
	log_buffer[12]=((int16_t)(battery_voltage_float*100))&0xFF;

	log_buffer[15]=((int16_t)(angle_roll_output*100)>>8)&0xFF;
	log_buffer[14]=((int16_t)(angle_roll_output*100))&0xFF;

	log_buffer[17]=((int16_t)(angle_pitch_output*100)>>8)&0xFF;
	log_buffer[16]=((int16_t)(angle_pitch_output*100))&0xFF;

	log_buffer[19]=((int16_t)(heading_corrected*100)>>8)&0xFF;
	log_buffer[18]=((int16_t)(heading_corrected*100))&0xFF;

	log_buffer[21]=((uint16_t)(baro_filter_output[0]*10)>>8)&0xFF;
	log_buffer[20]=((uint16_t)(baro_filter_output[0]*10))&0xFF;

	log_buffer[23]=((latitude)>>8)&0xFF;
	log_buffer[22]=((latitude))&0xFF;

	log_buffer[25]=((latitude)>>24)&0xFF;
	log_buffer[24]=((latitude)>>16)&0xFF;
/*
	longitude_address
	latitude
	longitude
	*/

	log_buffer[27]=((longitude)>>8)&0xFF;
	log_buffer[26]=((longitude))&0xFF;

	log_buffer[29]=((longitude)>>24)&0xFF;
	log_buffer[28]=((longitude)>>16)&0xFF;

	log_buffer[31]=((int16_t)(gyro_roll_input*10)>>8)&0xFF;
	log_buffer[30]=((int16_t)(gyro_roll_input*10))&0xFF;

	log_buffer[33]=((int16_t)(gyro_pitch_input*10)>>8)&0xFF;
	log_buffer[32]=((int16_t)(gyro_pitch_input*10))&0xFF;

}

/* USER CODE END 4 */

void Error_Handler(void)
{
  __disable_irq();
  while (1)
  {
  }
}
